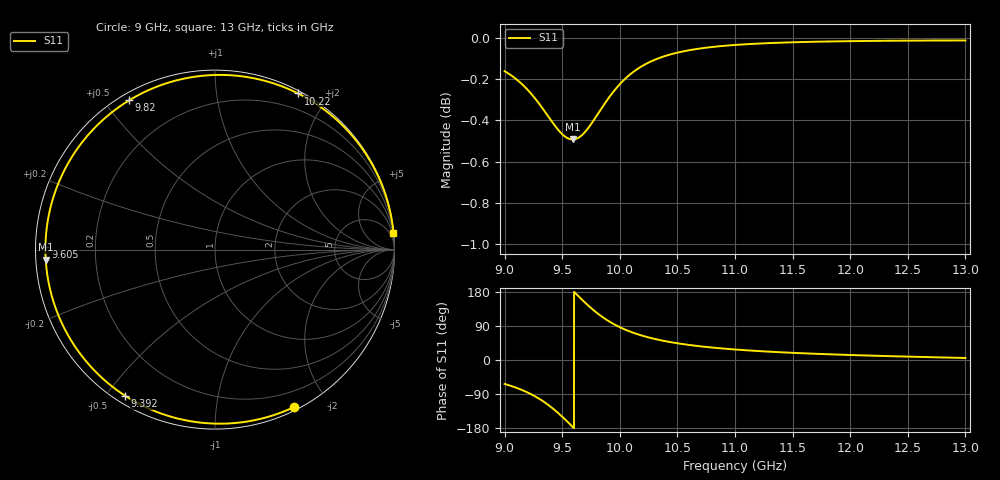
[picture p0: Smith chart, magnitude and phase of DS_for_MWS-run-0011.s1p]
! TOUCHSTONE file generated by CST DESIGN STUDIO
! Date and time: Tue Feb  4 14:05:46 2025
! Project name: C:\Work\MatlabApps\UnitCellOptimizationMatlab\CST\unitcell.cst
! Tree item: Tasks\Sweep1\SPara1\S-Parameters
! Header version: 2024
! Port assignment regex: !\s*Touchstone port\s*([0-9]+)\s*=\s*(CST MWS port|CST DES external port|CST DES block port)\s*(.+)\s* \(\"(.*)\"\)(\s*mode\s*([0-9]+))?.*
! Touchstone port assignment:
! Touchstone port 1 = CST DES external port 1 ("")
# GHz S MA R 50
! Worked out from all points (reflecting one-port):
!   4001 points, 9 GHz to 13 GHz, reference 50 ohm
!   lowest |S11| = -0.5 dB at 9.591 GHz (marker M1), VSWR 35.26, Z = 1.42 - j1.5 ohm
!   phase of S11 starts at -63 deg and turns -291 deg over the sweep
!   S11 on the Smith chart (normalised r, x): 9 GHz: 0.03, -1.63; 9.392 GHz: 0.03, -0.56; 9.605 GHz: 0.03, +0.01; 9.82 GHz: 0.03, +0.58; 10.22 GHz: 0.03, +1.66; 13 GHz: 0, +21
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9  0.9817 -63.2
9.05  0.9797 -67.8
9.12  0.9763 -75.4
9.24  0.9687 -91.9
9.321  0.9622 -106.3
9.392  0.956 -121.6
9.446  0.9514 -134.9
9.5  0.9477 -149.6
9.547  0.9455 -163.3
9.591  0.9448 -176.5
9.605  0.9449 179.2
9.65  0.9461 165.6
9.697  0.9487 151.8
9.759  0.9537 134.8
9.82  0.9594 119.9
9.86  0.9632 111.1
9.902  0.967 102.8
10  0.9745 86.6
10.105  0.9807 73.2
10.22  0.9854 62.0
10.349  0.9891 52.5
10.5  0.9919 44.1
10.72  0.9944 35.4
11  0.9962 27.7
11.5  0.9977 18.9
12  0.9983 13.2
12.5  0.9986 8.9
13  0.9987 5.4
